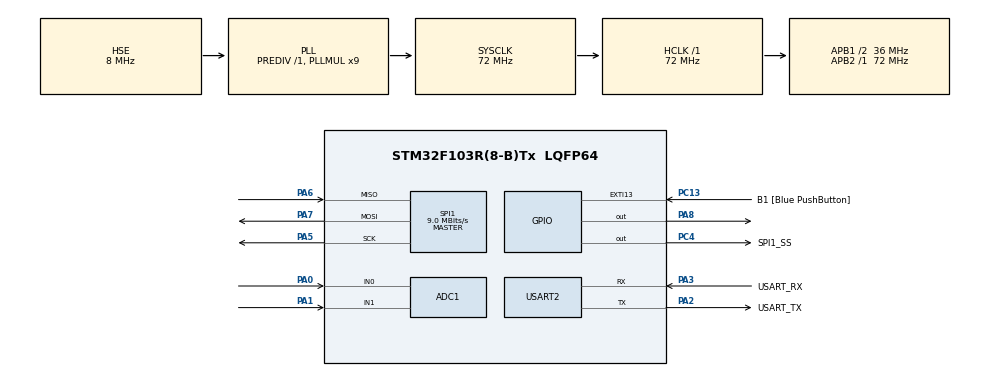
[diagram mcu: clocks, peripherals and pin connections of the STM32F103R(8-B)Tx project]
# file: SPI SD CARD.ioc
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ADC1.Channel-0\#ChannelRegularConversion=ADC_CHANNEL_0
ADC1.Channel-1\#ChannelRegularConversion=ADC_CHANNEL_1
ADC1.ContinuousConvMode=ENABLE
ADC1.NbrOfConversion=2
ADC1.NbrOfConversionFlag=1
ADC1.Rank-0\#ChannelRegularConversion=1
ADC1.Rank-1\#ChannelRegularConversion=2
ADC1.SamplingTime-0\#ChannelRegularConversion=ADC_SAMPLETIME_239CYCLES_5
ADC1.SamplingTime-1\#ChannelRegularConversion=ADC_SAMPLETIME_239CYCLES_5
ADC1.master=1
Dma.ADC1.0.Direction=DMA_PERIPH_TO_MEMORY
Dma.ADC1.0.Instance=DMA1_Channel1
Dma.ADC1.0.MemDataAlignment=DMA_MDATAALIGN_HALFWORD
Dma.ADC1.0.MemInc=DMA_MINC_ENABLE
Dma.ADC1.0.Mode=DMA_CIRCULAR
Dma.ADC1.0.PeriphDataAlignment=DMA_PDATAALIGN_HALFWORD
Dma.ADC1.0.PeriphInc=DMA_PINC_DISABLE
Dma.ADC1.0.Priority=DMA_PRIORITY_LOW
Dma.Request0=ADC1
FATFS._MAX_SS=4096
FATFS._USE_LFN=1
Mcu.Family=STM32F1
Mcu.Name=STM32F103R(8-B)Tx
Mcu.Package=LQFP64
NVIC.DMA1_Channel1_IRQn=true\:0\:0\:false\:false\:true\:false\:true\:true
NVIC.EXTI15_10_IRQn=true\:0\:0\:false\:false\:true\:true\:true\:true
NVIC.PriorityGroup=NVIC_PRIORITYGROUP_4
PA0-WKUP.Signal=ADCx_IN0
PA1.Signal=ADCx_IN1
PA13.GPIO_Label=TMS
PA13.Mode=Serial_Wire
PA13.Signal=SYS_JTMS-SWDIO
PA14.GPIO_Label=TCK
PA14.Mode=Serial_Wire
PA14.Signal=SYS_JTCK-SWCLK
PA2.GPIO_Label=USART_TX
PA2.GPIO_Mode=GPIO_MODE_AF_PP
PA2.GPIO_PuPd=GPIO_NOPULL
PA2.GPIO_Speed=GPIO_SPEED_FREQ_LOW
PA2.Mode=Asynchronous
PA2.Signal=USART2_TX
PA3.GPIO_Label=USART_RX
PA3.GPIO_Mode=GPIO_MODE_AF_PP
PA3.GPIO_PuPd=GPIO_NOPULL
PA3.GPIO_Speed=GPIO_SPEED_FREQ_LOW
PA3.Mode=Asynchronous
PA3.Signal=USART2_RX
PA5.Mode=Full_Duplex_Master
PA5.Signal=SPI1_SCK
PA6.Mode=Full_Duplex_Master
PA6.Signal=SPI1_MISO
PA7.Mode=Full_Duplex_Master
PA7.Signal=SPI1_MOSI
PA8.Signal=GPIO_Output
PB3.GPIO_Label=SWO
PB3.Signal=SYS_JTDO-TRACESWO
PC13-TAMPER-RTC.GPIO_Label=B1 [Blue PushButton]
PC13-TAMPER-RTC.GPIO_PuPd=GPIO_NOPULL
PC13-TAMPER-RTC.Signal=GPXTI13
PC14-OSC32_IN.Mode=LSE-External-Oscillator
PC14-OSC32_IN.Signal=RCC_OSC32_IN
PC15-OSC32_OUT.Mode=LSE-External-Oscillator
PC15-OSC32_OUT.Signal=RCC_OSC32_OUT
PC4.GPIO_Label=SPI1_SS
PC4.Signal=GPIO_Output
PD0-OSC_IN.Mode=HSE-External-Clock-Source
PD0-OSC_IN.Signal=RCC_OSC_IN
PD1-OSC_OUT.Mode=HSE-External-Clock-Source
PD1-OSC_OUT.Signal=RCC_OSC_OUT
ProjectManager.HeapSize=0x200
ProjectManager.StackSize=0x400
ProjectManager.TargetToolchain=STM32CubeIDE
RCC.ADCPresc=RCC_ADCPCLK2_DIV6
RCC.AHBFreq_Value=72000000
RCC.APB1CLKDivider=RCC_HCLK_DIV2
RCC.APB1Freq_Value=36000000
RCC.APB1TimFreq_Value=72000000
RCC.APB2Freq_Value=72000000
RCC.APB2TimFreq_Value=72000000
RCC.HCLKFreq_Value=72000000
RCC.PLLMUL=RCC_PLL_MUL9
RCC.PLLSourceVirtual=RCC_PLLSOURCE_HSE
RCC.RTCClockSelection=RCC_RTCCLKSOURCE_LSE
RCC.SYSCLKFreq_VALUE=72000000
RCC.SYSCLKSource=RCC_SYSCLKSOURCE_PLLCLK
RCC.USBFreq_Value=72000000
SH.ADCx_IN0.0=ADC1_IN0,IN0
SH.ADCx_IN1.0=ADC1_IN1,IN1
SPI1.BaudRatePrescaler=SPI_BAUDRATEPRESCALER_8
SPI1.CalculateBaudRate=9.0 MBits/s
SPI1.Direction=SPI_DIRECTION_2LINES
SPI1.Mode=SPI_MODE_MASTER
SPI1.VirtualType=VM_MASTER
USART2.VirtualMode=VM_ASYNC
VP_FATFS_VS_Generic.Mode=User_defined
board=NUCLEO-F103RB

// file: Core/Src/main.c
/* USER CODE BEGIN Header */
/**
  ******************************************************************************
  * @file           : main.c
  * @brief          : Main program body
  ******************************************************************************
  * @attention
  *
  * Copyright (c) 2025 STMicroelectronics.
  * All rights reserved.
  *
  * This software is licensed under terms that can be found in the LICENSE file
  * in the root directory of this software component.
  * If no LICENSE file comes with this software, it is provided AS-IS.
  *
  ******************************************************************************
  */
/* USER CODE END Header */
#include "main.h"
#include "fatfs.h"

/* USER CODE BEGIN Includes */
#include "fatfs_sd.h"
#include "spi_sd.h"
#include "adc_multi.h"
/* USER CODE END Includes */

ADC_HandleTypeDef hadc1;
DMA_HandleTypeDef hdma_adc1;

SPI_HandleTypeDef hspi1;

UART_HandleTypeDef huart2;

/* USER CODE BEGIN PV */
uint16_t ADC_VAL[READSIZE];
float ADC_Voltage[READSIZE];
float ADC_Position[READSIZE];
int IsADCFinished = 0;
int count = 0;
typedef enum{
	NOT_READY_TO_DRIVE,
	READY_TO_DRIVE
}States;
States state_machine = NOT_READY_TO_DRIVE;

/* USER CODE END PV */

void SystemClock_Config(void);
static void MX_GPIO_Init(void);
static void MX_DMA_Init(void);
static void MX_USART2_UART_Init(void);
static void MX_SPI1_Init(void);
static void MX_ADC1_Init(void);
/* USER CODE BEGIN PFP */
void HAL_ADC_ConvCpltCallback(ADC_HandleTypeDef *hadc);
/* USER CODE END PFP */

int main(void)
{

  /* MCU Configuration--------------------------------------------------------*/

  /* Reset of all peripherals, Initializes the Flash interface and the Systick. */
  HAL_Init();

  /* Configure the system clock */
  SystemClock_Config();

  /* Initialize all configured peripherals */
  MX_GPIO_Init();
  MX_DMA_Init();
  MX_USART2_UART_Init();
  MX_SPI1_Init();
  MX_FATFS_Init();
  MX_ADC1_Init();
  /* USER CODE BEGIN 2 */
  HAL_ADC_Start_DMA(&hadc1, (uint32_t *) ADC_VAL, READSIZE);
  /* USER CODE END 2 */

  /* Infinite loop */
  while (1)
  {

    /* USER CODE BEGIN 3 */

	  if(state_machine == READY_TO_DRIVE){
	  if(IsADCFinished == 1){
		  for(int i = 0; i < READSIZE; i++){
			  ADC_Voltage[i] = ReadVoltage(ADC_VAL[i]); // Recebe as tensões convertidas
			  ADC_Position[i] = ReadPosition(ADC_Voltage[i]); // Recebe a Tensão e converte em Posição do potenciometro linear
		  }
		  IsADCFinished = 0;
	  }

#ifdef CSV_WRITE
	  for(int i =0; i < READSIZE; i++){
	  sd_writeCSV(ADC_Voltage[i]);
	  sd_writeCSV(ADC_Position[i]);
	  }
#endif
#ifdef BINARY_WRITE
	  for(int i =0; i < READSIZE; i++){
	  sd_writeBin(ADC_Voltage[i]);
	  sd_writeBin(ADC_Position[i]);
	  }
#endif
  }}
  /* USER CODE END 3 */
}

void SystemClock_Config(void)
{
  RCC_OscInitTypeDef RCC_OscInitStruct = {0};
  RCC_ClkInitTypeDef RCC_ClkInitStruct = {0};
  RCC_PeriphCLKInitTypeDef PeriphClkInit = {0};

  /** Initializes the RCC Oscillators according to the specified parameters
  * in the RCC_OscInitTypeDef structure.
  */
  RCC_OscInitStruct.OscillatorType = RCC_OSCILLATORTYPE_HSE;
  RCC_OscInitStruct.HSEState = RCC_HSE_BYPASS;
  RCC_OscInitStruct.HSEPredivValue = RCC_HSE_PREDIV_DIV1;
  RCC_OscInitStruct.HSIState = RCC_HSI_ON;
  RCC_OscInitStruct.PLL.PLLState = RCC_PLL_ON;
  RCC_OscInitStruct.PLL.PLLSource = RCC_PLLSOURCE_HSE;
  RCC_OscInitStruct.PLL.PLLMUL = RCC_PLL_MUL9;
  if (HAL_RCC_OscConfig(&RCC_OscInitStruct) != HAL_OK)
  {
    Error_Handler();
  }

  /** Initializes the CPU, AHB and APB buses clocks
  */
  RCC_ClkInitStruct.ClockType = RCC_CLOCKTYPE_HCLK|RCC_CLOCKTYPE_SYSCLK
                              |RCC_CLOCKTYPE_PCLK1|RCC_CLOCKTYPE_PCLK2;
  RCC_ClkInitStruct.SYSCLKSource = RCC_SYSCLKSOURCE_PLLCLK;
  RCC_ClkInitStruct.AHBCLKDivider = RCC_SYSCLK_DIV1;
  RCC_ClkInitStruct.APB1CLKDivider = RCC_HCLK_DIV2;
  RCC_ClkInitStruct.APB2CLKDivider = RCC_HCLK_DIV1;

  if (HAL_RCC_ClockConfig(&RCC_ClkInitStruct, FLASH_LATENCY_2) != HAL_OK)
  {
    Error_Handler();
  }
  PeriphClkInit.PeriphClockSelection = RCC_PERIPHCLK_ADC;
  PeriphClkInit.AdcClockSelection = RCC_ADCPCLK2_DIV6;
  if (HAL_RCCEx_PeriphCLKConfig(&PeriphClkInit) != HAL_OK)
  {
    Error_Handler();
  }
}

static void MX_ADC1_Init(void)
{

  ADC_ChannelConfTypeDef sConfig = {0};

  /** Common config
  */
  hadc1.Instance = ADC1;
  hadc1.Init.ScanConvMode = ADC_SCAN_ENABLE;
  hadc1.Init.ContinuousConvMode = ENABLE;
  hadc1.Init.DiscontinuousConvMode = DISABLE;
  hadc1.Init.ExternalTrigConv = ADC_SOFTWARE_START;
  hadc1.Init.DataAlign = ADC_DATAALIGN_RIGHT;
  hadc1.Init.NbrOfConversion = 2;
  if (HAL_ADC_Init(&hadc1) != HAL_OK)
  {
    Error_Handler();
  }

  /** Configure Regular Channel
  */
  sConfig.Channel = ADC_CHANNEL_0;
  sConfig.Rank = ADC_REGULAR_RANK_1;
  sConfig.SamplingTime = ADC_SAMPLETIME_239CYCLES_5;
  if (HAL_ADC_ConfigChannel(&hadc1, &sConfig) != HAL_OK)
  {
    Error_Handler();
  }

  /** Configure Regular Channel
  */
  sConfig.Channel = ADC_CHANNEL_1;
  sConfig.Rank = ADC_REGULAR_RANK_2;
  if (HAL_ADC_ConfigChannel(&hadc1, &sConfig) != HAL_OK)
  {
    Error_Handler();
  }

}

static void MX_SPI1_Init(void)
{

  /* SPI1 parameter configuration*/
  hspi1.Instance = SPI1;
  hspi1.Init.Mode = SPI_MODE_MASTER;
  hspi1.Init.Direction = SPI_DIRECTION_2LINES;
  hspi1.Init.DataSize = SPI_DATASIZE_8BIT;
  hspi1.Init.CLKPolarity = SPI_POLARITY_LOW;
  hspi1.Init.CLKPhase = SPI_PHASE_1EDGE;
  hspi1.Init.NSS = SPI_NSS_SOFT;
  hspi1.Init.BaudRatePrescaler = SPI_BAUDRATEPRESCALER_8;
  hspi1.Init.FirstBit = SPI_FIRSTBIT_MSB;
  hspi1.Init.TIMode = SPI_TIMODE_DISABLE;
  hspi1.Init.CRCCalculation = SPI_CRCCALCULATION_DISABLE;
  hspi1.Init.CRCPolynomial = 10;
  if (HAL_SPI_Init(&hspi1) != HAL_OK)
  {
    Error_Handler();
  }

}

static void MX_USART2_UART_Init(void)
{

  huart2.Instance = USART2;
  huart2.Init.BaudRate = 115200;
  huart2.Init.WordLength = UART_WORDLENGTH_8B;
  huart2.Init.StopBits = UART_STOPBITS_1;
  huart2.Init.Parity = UART_PARITY_NONE;
  huart2.Init.Mode = UART_MODE_TX_RX;
  huart2.Init.HwFlowCtl = UART_HWCONTROL_NONE;
  huart2.Init.OverSampling = UART_OVERSAMPLING_16;
  if (HAL_UART_Init(&huart2) != HAL_OK)
  {
    Error_Handler();
  }

}

static void MX_DMA_Init(void)
{

  /* DMA controller clock enable */
  __HAL_RCC_DMA1_CLK_ENABLE();

  /* DMA interrupt init */
  /* DMA1_Channel1_IRQn interrupt configuration */
  HAL_NVIC_SetPriority(DMA1_Channel1_IRQn, 0, 0);
  HAL_NVIC_EnableIRQ(DMA1_Channel1_IRQn);

}

static void MX_GPIO_Init(void)
{
  GPIO_InitTypeDef GPIO_InitStruct = {0};

  /* GPIO Ports Clock Enable */
  __HAL_RCC_GPIOC_CLK_ENABLE();
  __HAL_RCC_GPIOD_CLK_ENABLE();
  __HAL_RCC_GPIOA_CLK_ENABLE();
  __HAL_RCC_GPIOB_CLK_ENABLE();

  /*Configure GPIO pin Output Level */
  HAL_GPIO_WritePin(SPI1_SS_GPIO_Port, SPI1_SS_Pin, GPIO_PIN_RESET);

  /*Configure GPIO pin Output Level */
  HAL_GPIO_WritePin(GPIOA, GPIO_PIN_8, GPIO_PIN_RESET);

  /*Configure GPIO pin : B1_Pin */
  GPIO_InitStruct.Pin = B1_Pin;
  GPIO_InitStruct.Mode = GPIO_MODE_IT_RISING;
  GPIO_InitStruct.Pull = GPIO_NOPULL;
  HAL_GPIO_Init(B1_GPIO_Port, &GPIO_InitStruct);

  /*Configure GPIO pin : SPI1_SS_Pin */
  GPIO_InitStruct.Pin = SPI1_SS_Pin;
  GPIO_InitStruct.Mode = GPIO_MODE_OUTPUT_PP;
  GPIO_InitStruct.Pull = GPIO_NOPULL;
  GPIO_InitStruct.Speed = GPIO_SPEED_FREQ_LOW;
  HAL_GPIO_Init(SPI1_SS_GPIO_Port, &GPIO_InitStruct);

  /*Configure GPIO pin : PA8 */
  GPIO_InitStruct.Pin = GPIO_PIN_8;
  GPIO_InitStruct.Mode = GPIO_MODE_OUTPUT_PP;
  GPIO_InitStruct.Pull = GPIO_NOPULL;
  GPIO_InitStruct.Speed = GPIO_SPEED_FREQ_LOW;
  HAL_GPIO_Init(GPIOA, &GPIO_InitStruct);

  /* EXTI interrupt init*/
  HAL_NVIC_SetPriority(EXTI15_10_IRQn, 0, 0);
  HAL_NVIC_EnableIRQ(EXTI15_10_IRQn);

}

void Error_Handler(void)
{
  __disable_irq();
  while (1)
  {
  }
}
